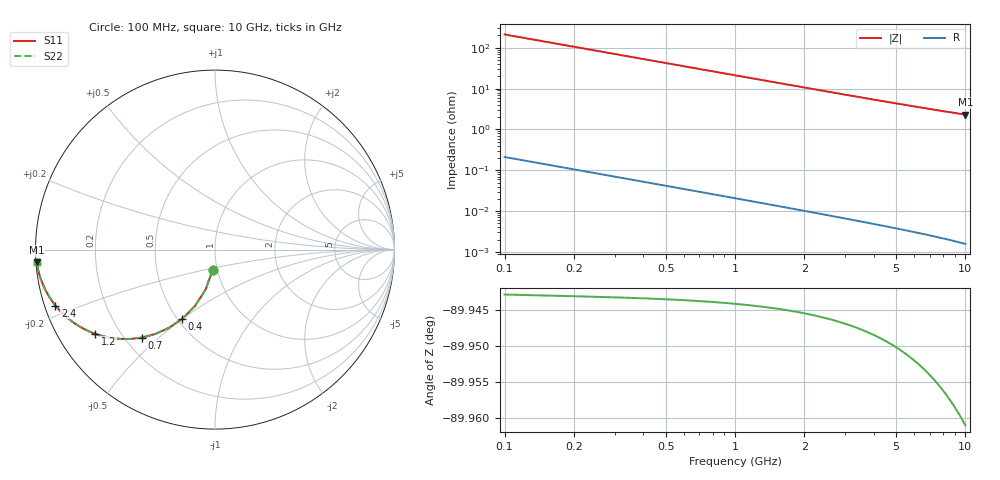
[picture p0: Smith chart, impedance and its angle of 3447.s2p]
# Hz S RI R 50.00
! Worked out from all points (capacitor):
!   100 points, 100 MHz to 10 GHz, reference 50 ohm
!   read as one part in shunt: C = 7.52 pF near 100 MHz
!   lowest |Z| = 2.32 ohm at 10 GHz (marker M1)
!   S11 on the Smith chart (normalised r, x): 100 MHz: 0.95, -0.22; 400 MHz: 0.53, -0.50; 700 MHz: 0.27, -0.44; 1.2 GHz: 0.11, -0.31; 2.4 GHz: 0.03, -0.17; 10 GHz: 0.00, -0.04
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1e8  -0.0138 -0.1164  0.9861 -0.1166  0.9861 -0.1166  -0.0138 -0.1164
2e8  -0.053 -0.2234  0.9469 -0.2238  0.9469 -0.2238  -0.053 -0.2234
3e8  -0.1118 -0.3143  0.8882 -0.3149  0.8882 -0.3149  -0.1118 -0.3143
4e8  -0.1827 -0.3855  0.8173 -0.3863  0.8173 -0.3863  -0.1827 -0.3855
5e8  -0.2587 -0.437  0.7413 -0.4379  0.7413 -0.4379  -0.2587 -0.437
6e8  -0.3343 -0.4707  0.6656 -0.4718  0.6656 -0.4718  -0.3343 -0.4707
7e8  -0.4059 -0.4899  0.594 -0.4912  0.594 -0.4912  -0.4059 -0.4899
9e8  -0.5302 -0.4977  0.4697 -0.4994  0.4697 -0.4994  -0.5302 -0.4977
1e9  -0.5821 -0.4918  0.4178 -0.4936  0.4178 -0.4936  -0.5821 -0.4918
1.2e9  -0.6672 -0.4696  0.3328 -0.4718  0.3328 -0.4718  -0.6672 -0.4696
1.3e9  -0.7017 -0.4558  0.2983 -0.4582  0.2983 -0.4582  -0.7017 -0.4558
1.5e9  -0.7579 -0.4264  0.2421 -0.4293  0.2421 -0.4293  -0.7579 -0.4264
1.8e9  -0.8183 -0.3834  0.1816 -0.3868  0.1816 -0.3868  -0.8183 -0.3834
2.1e9  -0.8597 -0.3448  0.1403 -0.3488  0.1403 -0.3488  -0.8597 -0.3448
2.4e9  -0.8889 -0.3115  0.1111 -0.316  0.1111 -0.316  -0.8889 -0.3115
2.9e9  -0.9211 -0.2663  0.0789 -0.2718  0.0789 -0.2718  -0.9211 -0.2663
3.4e9  -0.9413 -0.2312  0.0586 -0.2377  0.0586 -0.2377  -0.9413 -0.2312
4.2e9  -0.9608 -0.1895  0.0392 -0.1976  0.0392 -0.1976  -0.9608 -0.1895
5.1e9  -0.9731 -0.1562  0.0268 -0.1661  0.0268 -0.1661  -0.9731 -0.1562
6.7e9  -0.9843 -0.1169  0.0155 -0.13  0.0155 -0.13  -0.9843 -0.1169
8.4e9  -0.99 -0.0899  0.00976 -0.1066  0.00976 -0.1066  -0.99 -0.0899
1e10  -0.993 -0.0718  0.00672 -0.092  0.00672 -0.092  -0.993 -0.0718
